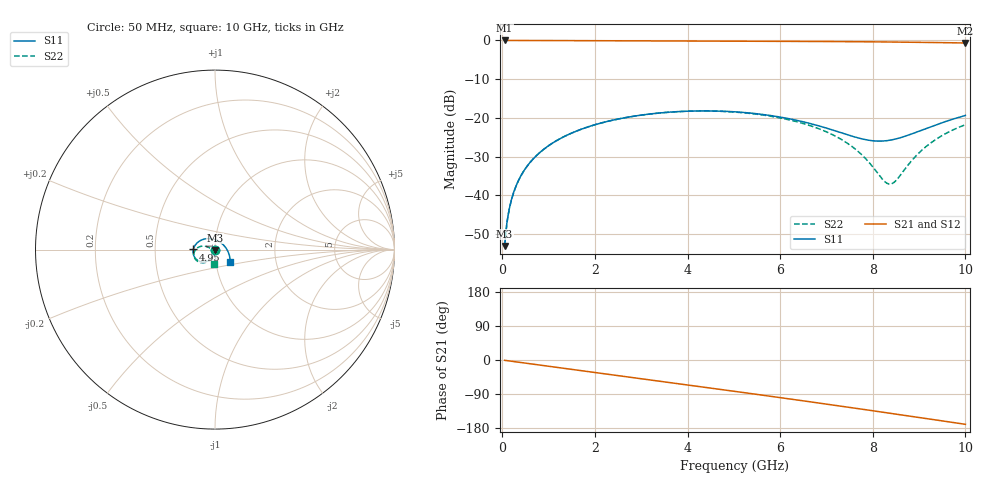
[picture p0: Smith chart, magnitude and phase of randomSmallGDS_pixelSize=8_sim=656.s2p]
! freq	dB(S11)	phase(S11)	dB(S12)	phase(S12)
!  dB(S21)	phase(S21)	dB(S22)	phase(S22)
!S-par simulation data
#  GHz  S  DB  R 50
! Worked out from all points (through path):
!   200 points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, 50 MHz to 10 GHz, reference 50 ohm
!   highest |S21| = 0.00 dB at 50 MHz (marker M1); lowest = -0.7 dB at 10 GHz (marker M2)
!   group delay of S21, straight-line fit = 46.9 ps
!   lowest |S11| = -53.0 dB at 50 MHz (marker M3), VSWR 1.00, Z = 50 - j0.223 ohm
!   |S11| at or under -10 dB: start of sweep to end of sweep
!   |S22| runs from -53.1 to -18.2 dB; largest |S21 - S12| = 0
!   S11 on the Smith chart (normalised r, x): 50 MHz: 1.00, -0.00; 4.95 GHz: 0.78, +0.00; 10 GHz: 1.17, -0.16
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0.05  -53.04 -90.6  -0.00 -0.8  -0.00 -0.8  -53.11 -90.6
0.1  -47.01 -91.7  -0.00 -1.7  -0.00 -1.7  -47.09 -91.7
0.2  -40.99 -93.7  -0.00 -3.3  -0.00 -3.3  -41.05 -93.6
0.35  -36.14 -96.5  -0.00 -5.8  -0.00 -5.8  -36.17 -96.3
0.5  -33.05 -99.2  -0.01 -8.3  -0.01 -8.3  -33.07 -98.8
0.7  -30.17 -102.8  -0.02 -11.6  -0.02 -11.6  -30.18 -102.0
1  -27.17 -108.2  -0.03 -16.6  -0.03 -16.6  -27.17 -106.9
1.75  -22.73 -121.4  -0.05 -28.9  -0.05 -28.9  -22.73 -118.9
2.5  -20.29 -134.5  -0.08 -41.2  -0.08 -41.2  -20.29 -130.8
3.4  -18.72 -150.6  -0.12 -55.9  -0.12 -55.9  -18.73 -144.9
4.95  -18.38 179.5  -0.18 -81.6  -0.18 -81.6  -18.44 -169.0
5.05  -18.45 177.4  -0.19 -83.2  -0.19 -83.2  -18.52 -170.6
5.95  -19.68 156.7  -0.22 -98.4  -0.22 -98.4  -19.89 176.0
6.7  -21.61 134.9  -0.26 -111.2  -0.26 -111.2  -22.21 165.9
7.55  -24.70 97.2  -0.31 -126.0  -0.31 -126.0  -27.37 160.1
8  -25.90 67.0  -0.36 -133.9  -0.36 -133.9  -32.64 169.9
8.25  -25.94 47.8  -0.38 -138.3  -0.38 -138.3  -36.36 -164.8
8.35  -25.80 40.2  -0.39 -140.1  -0.39 -140.1  -37.07 -146.9
8.5  -25.43 29.3  -0.41 -142.8  -0.41 -142.8  -36.19 -119.8
8.9  -23.87 4.2  -0.47 -149.9  -0.47 -149.9  -30.22 -89.6
9.2  -22.51 -10.6  -0.51 -155.3  -0.51 -155.3  -26.93 -86.1
10  -19.37 -38.4  -0.65 -169.7  -0.65 -169.7  -21.75 -92.1
